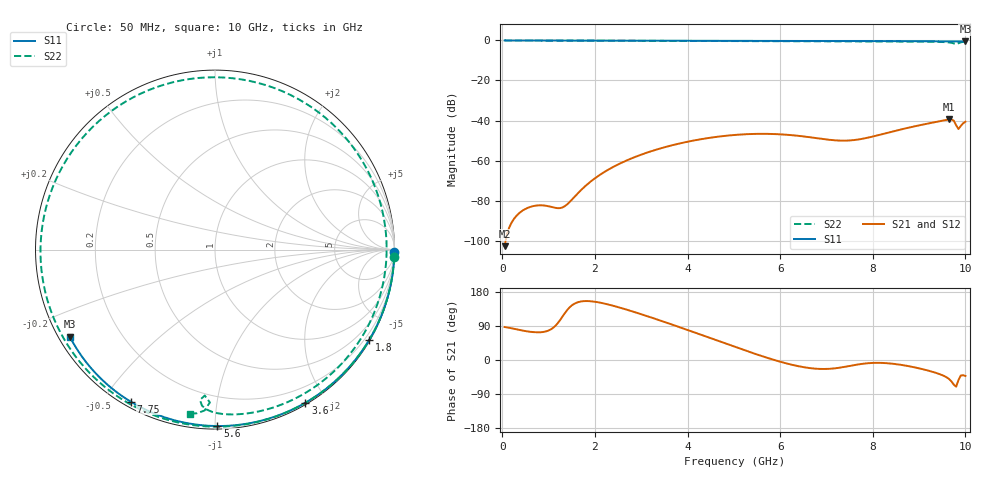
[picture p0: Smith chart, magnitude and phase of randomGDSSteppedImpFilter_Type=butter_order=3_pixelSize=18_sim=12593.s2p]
! freq	dB(S11)	phase(S11)	dB(S12)	phase(S12)
!  dB(S21)	phase(S21)	dB(S22)	phase(S22)
!S-par simulation data
#  GHz  S  DB  R 50
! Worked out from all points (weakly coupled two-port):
!   200 points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, 50 MHz to 10 GHz, reference 50 ohm
!   highest |S21| = -39.49 dB at 9.65 GHz (marker M1); lowest = -102.8 dB at 50 MHz (marker M2)
!   lowest |S11| = -0.5 dB at 10 GHz (marker M3), VSWR 34.44, Z = 1.56 - j13.8 ohm
!   |S11| at or under -10 dB: nowhere
!   |S22| runs from -1.8 to 0.0 dB; largest |S21 - S12| = 0
!   S11 on the Smith chart (normalised r, x): 50 MHz: open; 1.8 GHz: 0.03, -3.67; 3.6 GHz: 0.02, -1.75; 5.6 GHz: 0.02, -1.01; 7.75 GHz: 0.02, -0.59; 10 GHz: 0.03, -0.28
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0.05  -0.00 -0.9  -102.77 87.1  -102.77 87.1  -0.01 -2.3
0.7  -0.01 -12.0  -82.60 73.3  -82.60 73.3  -0.04 -31.4
1.45  -0.03 -24.6  -80.79 138.5  -80.79 138.5  -0.08 -64.6
1.75  -0.04 -29.6  -73.65 155.2  -73.65 155.2  -0.10 -77.8
1.8  -0.04 -30.5  -72.60 155.5  -72.60 155.5  -0.10 -80.0
2.55  -0.06 -42.7  -61.38 137.8  -61.38 137.8  -0.15 -113.2
3.4  -0.07 -56.3  -54.03 104.6  -54.03 104.6  -0.20 -151.9
3.6  -0.08 -59.4  -52.76 96.3  -52.76 96.3  -0.22 -161.3
4  -0.09 -65.6  -50.60 79.2  -50.60 79.2  -0.25 179.2
4.35  -0.10 -70.9  -49.10 64.1  -49.10 64.1  -0.27 161.4
5.05  -0.13 -81.3  -47.15 33.6  -47.15 33.6  -0.32 123.8
5.6  -0.15 -89.3  -46.64 10.5  -46.64 10.5  -0.35 92.7
6.1  -0.17 -96.4  -47.03 -7.9  -47.03 -7.9  -0.37 64.1
6.7  -0.20 -104.7  -48.53 -22.2  -48.53 -22.2  -0.38 30.9
7.2  -0.24 -111.5  -49.92 -21.7  -49.92 -21.7  -0.39 5.2
7.75  -0.28 -119.0  -49.24 -10.5  -49.24 -10.5  -0.41 -20.6
8.35  -0.33 -127.0  -45.95 -8.9  -45.95 -8.9  -0.46 -45.6
9.05  -0.40 -136.3  -42.17 -23.4  -42.17 -23.4  -0.57 -71.6
9.65  -0.46 -144.3  -39.49 -50.5  -39.49 -50.5  -0.99 -93.0
9.75  -0.48 -145.6  -40.09 -65.0  -40.09 -65.0  -1.50 -95.7
9.85  -0.48 -147.0  -44.23 -53.3  -44.23 -53.3  -1.39 -91.9
10  -0.50 -149.0  -40.59 -42.0  -40.59 -42.0  -0.68 -98.8
